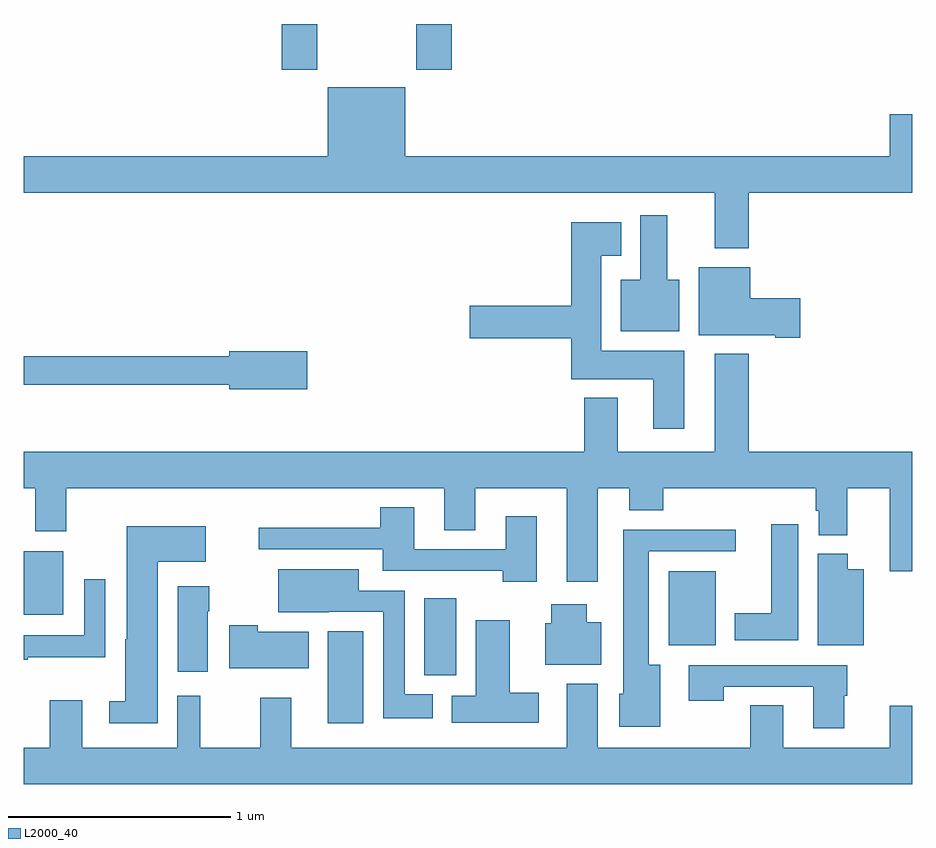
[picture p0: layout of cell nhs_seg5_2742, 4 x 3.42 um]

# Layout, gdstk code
import gdstk
lib = gdstk.Library(unit=1e-6, precision=1e-09)
def R(c, l, rs):  # rectangles x0, y0, x1, y1
    for r in rs: c.add(gdstk.rectangle(r[:2], r[2:], *l))
def P(c, l, *ps):  # polygons
    for p in ps: c.add(gdstk.Polygon(p, *l))
L2000_40 = (2000, 40)

nhs_seg5_2742 = lib.new_cell('nhs_seg5_2742')
R(nhs_seg5_2742, L2000_40, [(270.368,907.65,270.529,908.065), (270.803,907.865,270.946,908.212), (271.904,908,272.116,908.335), (269,908.138,269.176,908.425), (270.161,910.593,270.321,910.799), (270.766,910.593,270.926,910.799)])
P(nhs_seg5_2742, L2000_40, [(272.264,910.04),(273,910.04),(273,910.393),(272.9,910.393),(272.9,910.204),(270.718,910.204),(270.718,910.513),(270.368,910.513),(270.368,910.204),(269,910.204),(269,910.04),(272.111,910.04),(272.111,909.788),(272.264,909.788)],
  [(271.951,909.646),(271.897,909.646),(271.897,909.937),(271.775,909.937),(271.775,909.646),(271.688,909.646),(271.688,909.416),(271.951,909.416)],
  [(271.975,909.328),(271.6,909.328),(271.6,909.755),(271.69,909.755),(271.69,909.907),(271.466,909.907),(271.466,909.53),(271.008,909.53),(271.008,909.383),(271.466,909.383),(271.466,909.2),(271.835,909.2),(271.835,908.976),(271.975,908.976)],
  [(272.497,909.564),(272.272,909.564),(272.272,909.703),(272.039,909.703),(272.039,909.398),(272.384,909.398),(272.384,909.386),(272.497,909.386)],
  [(270.277,909.326),(269.924,909.326),(269.924,909.302),(269,909.302),(269,909.174),(269.924,909.174),(269.924,909.155),(270.277,909.155)],
  [(271.585,908.708),(271.727,908.708),(271.727,908.609),(271.88,908.609),(271.88,908.708),(272.567,908.708),(272.567,908.607),(272.579,908.607),(272.579,908.497),(272.707,908.497),(272.707,908.708),(272.9,908.708),(272.9,908.334),(273,908.334),(273,908.872),(272.264,908.872),(272.264,909.313),(272.111,909.313),(272.111,908.872),(271.675,908.872),(271.675,909.115),(271.523,909.115),(271.523,908.872),(269,908.872),(269,908.708),(269.051,908.708),(269.051,908.514),(269.191,908.514),(269.191,908.708),(270.893,908.708),(270.893,908.518),(271.033,908.518),(271.033,908.708),(271.445,908.708),(271.445,908.286),(271.585,908.286)],
  [(271.309,908.581),(271.169,908.581),(271.169,908.433),(270.757,908.433),(270.757,908.623),(270.605,908.623),(270.605,908.53),(270.057,908.53),(270.057,908.433),(270.617,908.433),(270.617,908.337),(271.157,908.337),(271.157,908.286),(271.309,908.286)],
  [(272.488,908.545),(272.366,908.545),(272.366,908.146),(272.201,908.146),(272.201,908.024),(272.488,908.024)],
  [(269.602,908.378),(269.818,908.378),(269.818,908.536),(269.462,908.536),(269.462,908.028),(269.456,908.028),(269.456,907.748),(269.385,907.748),(269.385,907.65),(269.602,907.65)],
  [(271.867,907.912),(271.813,907.912),(271.813,908.424),(272.206,908.424),(272.206,908.522),(271.7,908.522),(271.7,907.782),(271.682,907.782),(271.682,907.634),(271.867,907.634)],
  [(272.782,908.344),(272.71,908.344),(272.71,908.412),(272.576,908.412),(272.576,908),(272.782,908)],
  [(270.841,907.78),(270.714,907.78),(270.714,908.247),(270.508,908.247),(270.508,908.344),(270.146,908.344),(270.146,908.15),(270.372,908.15),(270.372,908.151),(270.618,908.151),(270.618,907.673),(270.841,907.673)],
  [(269.018,907.946),(269.367,907.946),(269.367,908.299),(269.271,908.299),(269.271,908.047),(269,908.047),(269,907.936),(269.018,907.936)],
  [(269.827,908.153),(269.835,908.153),(269.835,908.266),(269.693,908.266),(269.693,907.881),(269.827,907.881)],
  [(271.6,908.104),(271.534,908.104),(271.534,908.185),(271.376,908.185),(271.376,908.1),(271.349,908.1),(271.349,907.913),(271.6,907.913)],
  [(271.318,907.787),(271.189,907.787),(271.189,908.113),(271.034,908.113),(271.034,907.774),(270.926,907.774),(270.926,907.652),(271.318,907.652)],
  [(270.283,908.062),(270.054,908.062),(270.054,908.092),(269.924,908.092),(269.924,907.898),(270.283,907.898)],
  [(272.695,907.773),(272.708,907.773),(272.708,907.911),(271.995,907.911),(271.995,907.752),(272.151,907.752),(272.151,907.815),(272.555,907.815),(272.555,907.626),(272.695,907.626)],
  [(273,907.729),(272.9,907.729),(272.9,907.54),(272.419,907.54),(272.419,907.73),(272.272,907.73),(272.272,907.54),(271.585,907.54),(271.585,907.828),(271.445,907.828),(271.445,907.54),(270.205,907.54),(270.205,907.765),(270.065,907.765),(270.065,907.54),(269.794,907.54),(269.794,907.774),(269.69,907.774),(269.69,907.54),(269.263,907.54),(269.263,907.753),(269.116,907.753),(269.116,907.54),(269,907.54),(269,907.376),(273,907.376)])

lib.write_gds('nhs_seg5_2742.gds')
